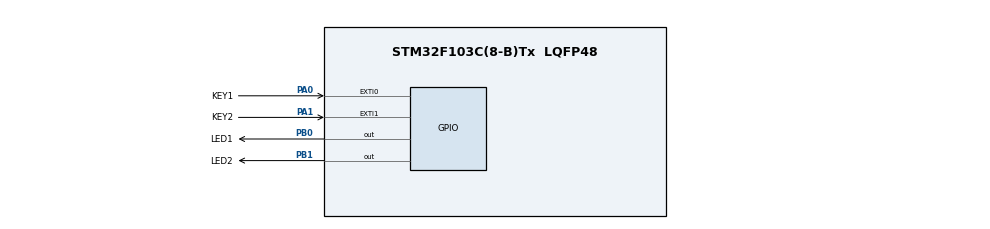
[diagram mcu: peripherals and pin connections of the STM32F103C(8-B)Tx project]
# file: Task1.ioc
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Mcu.Family=STM32F1
Mcu.Name=STM32F103C(8-B)Tx
Mcu.Package=LQFP48
NVIC.EXTI0_IRQn=true\:1\:0\:true\:false\:true\:true\:true
NVIC.EXTI1_IRQn=true\:1\:0\:true\:false\:true\:true\:true
NVIC.PriorityGroup=NVIC_PRIORITYGROUP_4
PA0-WKUP.GPIO_Label=KEY1
PA0-WKUP.GPIO_PuPd=GPIO_PULLUP
PA0-WKUP.Signal=GPXTI0
PA1.GPIO_Label=KEY2
PA1.GPIO_PuPd=GPIO_PULLUP
PA1.Signal=GPXTI1
PB0.GPIO_Label=LED1
PB0.GPIO_PuPd=GPIO_PULLDOWN
PB0.Signal=GPIO_Output
PB1.GPIO_Label=LED2
PB1.GPIO_PuPd=GPIO_PULLDOWN
PB1.Signal=GPIO_Output
PC14-OSC32_IN.Mode=LSE-External-Oscillator
PC14-OSC32_IN.Signal=RCC_OSC32_IN
PC15-OSC32_OUT.Mode=LSE-External-Oscillator
PC15-OSC32_OUT.Signal=RCC_OSC32_OUT
PD0-OSC_IN.Mode=HSE-External-Oscillator
PD0-OSC_IN.Signal=RCC_OSC_IN
PD1-OSC_OUT.Mode=HSE-External-Oscillator
PD1-OSC_OUT.Signal=RCC_OSC_OUT
ProjectManager.HeapSize=0x200
ProjectManager.StackSize=0x400
ProjectManager.TargetToolchain=MDK-ARM V5.27
RCC.APB1Freq_Value=8000000
RCC.APB2Freq_Value=8000000
VP_SYS_VS_ND.Mode=No_Debug
board=custom

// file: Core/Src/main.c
/* USER CODE BEGIN Header */
/**
  ******************************************************************************
  * @file           : main.c
  * @brief          : Main program body
  ******************************************************************************
  * @attention
  *
  * <h2><center>&copy; Copyright (c) 2021 STMicroelectronics.
  * All rights reserved.</center></h2>
  *
  * This software component is licensed by ST under BSD 3-Clause license,
  * the "License"; You may not use this file except in compliance with the
  * License. You may obtain a copy of the License at:
  *                        opensource.org/licenses/BSD-3-Clause
  *
  ******************************************************************************
  */
/* USER CODE END Header */

#include "main.h"
#include "gpio.h"

/* USER CODE BEGIN PD */
#define DELAY 1000
#define MODE1 1
#define MODE2 2
#define MODE3 3
/* USER CODE END PD */

void SystemClock_Config(void);

/* USER CODE BEGIN 0 */
uint16_t mode = 0;
uint16_t flag = 0;

void light1(){
	HAL_GPIO_WritePin(GPIOB, LED1_Pin, GPIO_PIN_SET);
	HAL_Delay(DELAY);
	HAL_GPIO_WritePin(GPIOB, LED1_Pin, GPIO_PIN_RESET);
	if(flag){
		flag = 0;
		return;
	}
	HAL_GPIO_WritePin(GPIOB, LED2_Pin, GPIO_PIN_SET);
	HAL_Delay(DELAY);
	HAL_GPIO_WritePin(GPIOB, LED2_Pin, GPIO_PIN_RESET);
}

void light2(){
	if(flag){
		flag = 0;
		return;
	}
	HAL_Delay(DELAY);
	if(flag){
		flag = 0;
		return;
	}
	HAL_GPIO_TogglePin(GPIOB, LED1_Pin);
	HAL_GPIO_TogglePin(GPIOB, LED2_Pin);

}
void light3(){

	HAL_GPIO_WritePin(GPIOB, LED1_Pin, GPIO_PIN_SET);
	HAL_GPIO_WritePin(GPIOB, LED2_Pin, GPIO_PIN_SET);
	HAL_Delay(DELAY);
	HAL_GPIO_WritePin(GPIOB, LED1_Pin, GPIO_PIN_RESET);
	HAL_GPIO_WritePin(GPIOB, LED2_Pin, GPIO_PIN_RESET);
}

void light(){
	switch(mode){
		case 1:light1();break;
		case 2:light2();break;
		case 3:light3();break;
		default: return;
	}
}

/* USER CODE END 0 */

int main(void)
{

  /* MCU Configuration--------------------------------------------------------*/

  /* Reset of all peripherals, Initializes the Flash interface and the Systick. */
  HAL_Init();

  /* Configure the system clock */
  SystemClock_Config();

  /* Initialize all configured peripherals */
  MX_GPIO_Init();

  /* USER CODE BEGIN 2 */
	mode = 0;
  /* USER CODE END 2 */

  /* Infinite loop */
  /* USER CODE BEGIN WHILE */
  while (1)
  {
		light();
    /* USER CODE END WHILE */

  }
}

void SystemClock_Config(void)
{
  RCC_OscInitTypeDef RCC_OscInitStruct = {0};
  RCC_ClkInitTypeDef RCC_ClkInitStruct = {0};

  /** Initializes the CPU, AHB and APB busses clocks
  */
  RCC_OscInitStruct.OscillatorType = RCC_OSCILLATORTYPE_HSI;
  RCC_OscInitStruct.HSIState = RCC_HSI_ON;
  RCC_OscInitStruct.HSICalibrationValue = RCC_HSICALIBRATION_DEFAULT;
  RCC_OscInitStruct.PLL.PLLState = RCC_PLL_NONE;
  if (HAL_RCC_OscConfig(&RCC_OscInitStruct) != HAL_OK)
  {
    Error_Handler();
  }
  /** Initializes the CPU, AHB and APB busses clocks
  */
  RCC_ClkInitStruct.ClockType = RCC_CLOCKTYPE_HCLK|RCC_CLOCKTYPE_SYSCLK
                              |RCC_CLOCKTYPE_PCLK1|RCC_CLOCKTYPE_PCLK2;
  RCC_ClkInitStruct.SYSCLKSource = RCC_SYSCLKSOURCE_HSI;
  RCC_ClkInitStruct.AHBCLKDivider = RCC_SYSCLK_DIV1;
  RCC_ClkInitStruct.APB1CLKDivider = RCC_HCLK_DIV1;
  RCC_ClkInitStruct.APB2CLKDivider = RCC_HCLK_DIV1;

  if (HAL_RCC_ClockConfig(&RCC_ClkInitStruct, FLASH_LATENCY_0) != HAL_OK)
  {
    Error_Handler();
  }
}

/* USER CODE BEGIN 4 */
void HAL_GPIO_EXTI_Callback(uint16_t GPIO_Pin){
	HAL_Delay(20);
	flag = 1;
	HAL_GPIO_WritePin(GPIOB, LED1_Pin, GPIO_PIN_RESET);
	HAL_GPIO_WritePin(GPIOB, LED2_Pin, GPIO_PIN_RESET);
	switch(GPIO_Pin){
		case KEY1_Pin:mode += 1;mode %= 4;if(!mode)mode=1;break;
		case KEY2_Pin:mode += 3;mode %= 4;if(!mode)mode=3;break;
	}
}
/* USER CODE END 4 */

void Error_Handler(void)
{
}

/************************ (C) COPYRIGHT STMicroelectronics *****END OF FILE****/
